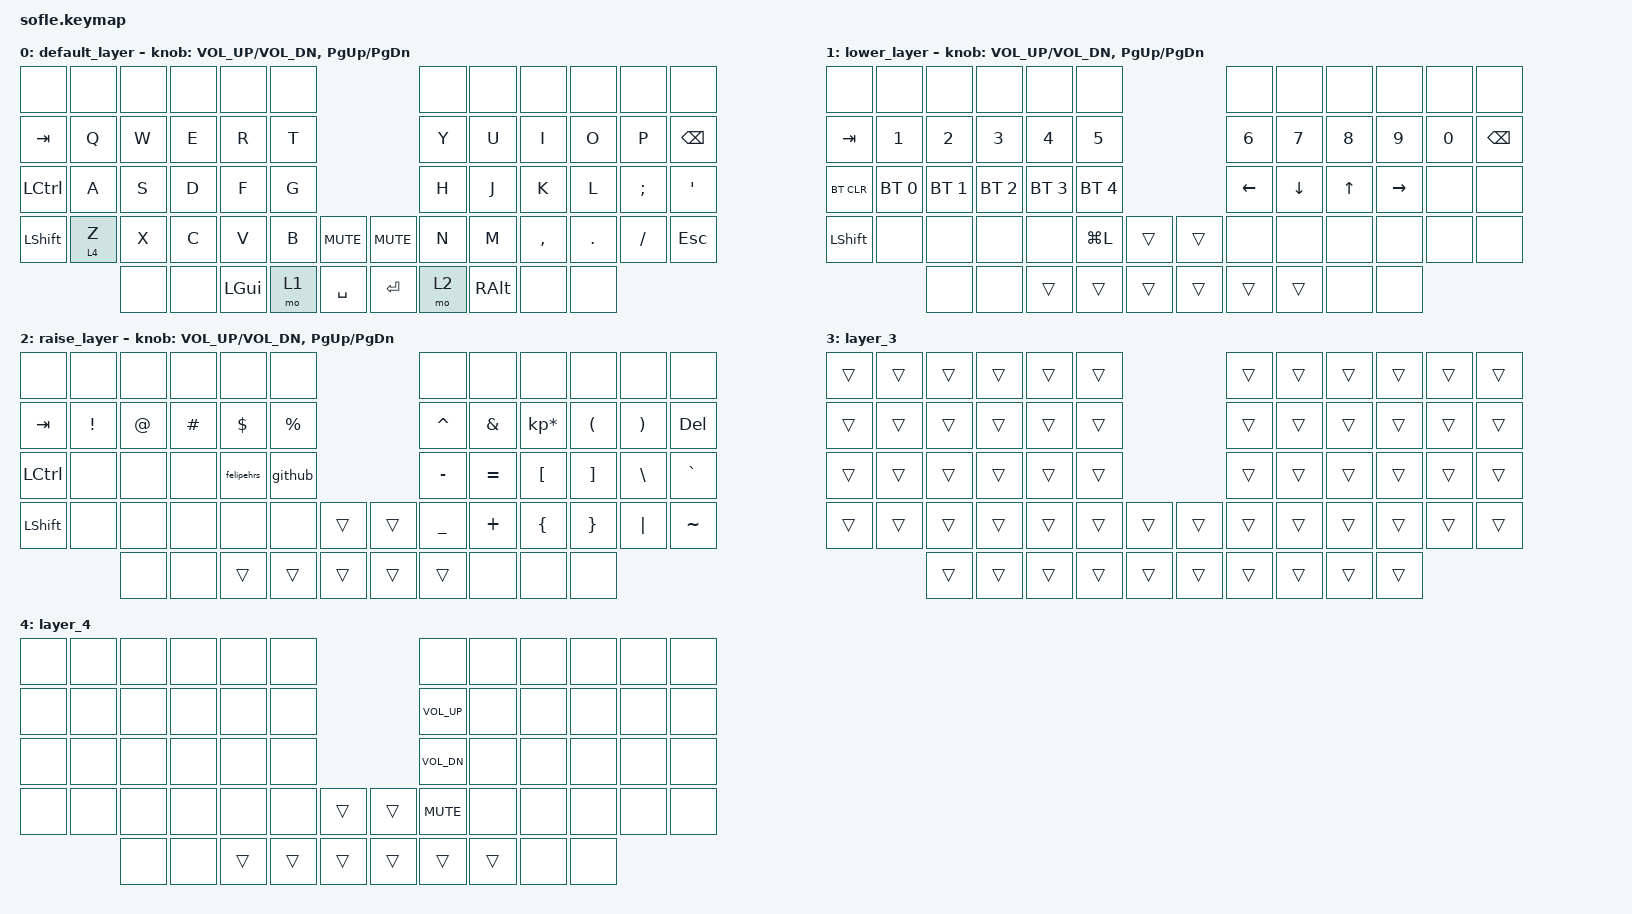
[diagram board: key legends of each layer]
/*
 * Copyright (c) 2020 The ZMK Contributors
 *
 * SPDX-License-Identifier: MIT
 */

#include <behaviors.dtsi>
#include <dt-bindings/zmk/bt.h>
#include <dt-bindings/zmk/keys.h>
#include <dt-bindings/zmk/outputs.h>

/ {
    combos {
        compatible = "zmk,combos";

        studio_unlock {
            bindings = <&studio_unlock>;
            key-positions = <15 16 17>;
        };

        out_ble {
            bindings = <&out OUT_BLE>;
            key-positions = <12 13 14>;
        };

        out_usb {
            bindings = <&out OUT_USB>;
            key-positions = <24 25 26>;
        };
    };

    macros {
        github: github {
            compatible = "zmk,behavior-macro";
            #binding-cells = <0>;
            bindings = <&kp G &kp I &kp T &kp H &kp U &kp B &kp DOT &kp C &kp O &kp M &kp SLASH>;
            label = "GITHUB";
        };

        felipehrs: felipehrs {
            compatible = "zmk,behavior-macro";
            #binding-cells = <0>;
            bindings = <&kp F &kp E &kp L &kp I &kp P &kp E &kp H &kp R &kp S>;
            label = "FELIPEHRS";
        };
    };

    keymap {
        compatible = "zmk,keymap";

        default_layer {
            // ------------------------------------------------------------------------------------------------------------
            // |  `    |  1  |  2  |  3   |  4   |  5   |                   |  6   |  7    |  8    |  9   |   0   |       |
            // |  ESC  |  Q  |  W  |  E   |  R   |  T   |                   |  Y   |  U    |  I    |  O   |   P   | BKSPC |
            // |  TAB  |  A  |  S  |  D   |  F   |  G   |                   |  H   |  J    |  K    |  L   |   ;   |   '   |
            // | SHIFT |  Z  |  X  |  C   |  V   |  B   |  MUTE  |  |       |  N   |  M    |  ,    |  .   |   /   | SHIFT |
            //               | GUI | ALT  | CTRL | LOWER|  ENTER |  | SPACE | RAISE| CTRL  | ALT   | GUI  |

            bindings = <
&none      &none    &none  &none  &none     &none                            &none  &none     &none      &none    &none     &none
&kp TAB    &kp Q    &kp W  &kp E  &kp R     &kp T                            &kp Y  &kp U     &kp I      &kp O    &kp P     &kp BSPC
&kp LCTRL  &kp A    &kp S  &kp D  &kp F     &kp G                            &kp H  &kp J     &kp K      &kp L    &kp SEMI  &kp SQT
&kp LSHFT  &lt 4 Z  &kp X  &kp C  &kp V     &kp B  &kp C_MUTE    &kp C_MUTE  &kp N  &kp M     &kp COMMA  &kp DOT  &kp FSLH  &kp ESC
                    &none  &none  &kp LGUI  &mo 1  &kp SPACE     &kp ENTER   &mo 2  &kp RALT  &none      &none
            >;

            sensor-bindings = <&inc_dec_kp C_VOL_UP C_VOL_DN &inc_dec_kp PG_UP PG_DN>;
        };

        lower_layer {
            // TODO: Some binds are waiting for shifted keycode support.
            // ------------------------------------------------------------------------------------------------------------
            // | `     |  F1 |  F2 |  F3  |  F4  |  F5  |                   |  F6  |  F7   |  F8   |  F9  |  F10  |  F11  |
            // | RAISE |   1 |   2 |   3  |   4  |   5  |                   |   6  |   7   |   8   |   9  |    0  |  F12  |
            // |       |  !  |  @  |  #   |  $   |  %   |                   |  ^   |  &    |  *    |  (   |   )   |   |   |
            // |       |  =  |  -  |  +   |  {   |  }   |        |  |       |  [   |  ]    |  ;    |  :   |   \   |       |
            //               |     |      |      |      |        |  |       |      |       |       |      |

            bindings = <
&none       &none         &none         &none         &none         &none                           &none     &none     &none   &none      &none   &none
&kp TAB     &kp N1        &kp N2        &kp N3        &kp N4        &kp N5                          &kp N6    &kp N7    &kp N8  &kp N9     &kp N0  &kp BSPC
&bt BT_CLR  &bt BT_SEL 0  &bt BT_SEL 1  &bt BT_SEL 2  &bt BT_SEL 3  &bt BT_SEL 4                    &kp LEFT  &kp DOWN  &kp UP  &kp RIGHT  &none   &none
&kp LSHIFT  &none         &none         &none         &none         &kp LG(L)     &trans    &trans  &none     &none     &none   &none      &none   &none
                          &none         &none         &trans        &trans        &trans    &trans  &trans    &trans    &none   &none
            >;

            sensor-bindings = <&inc_dec_kp C_VOL_UP C_VOL_DN &inc_dec_kp PG_UP PG_DN>;
        };

        raise_layer {
            // ------------------------------------------------------------------------------------------------------------
            // |BTCLR| BT1  | BT2  |  BT3  |  BT4  |  BT5 |                |      |      |       |      |       |       |
            // |     | INS  | PSCR | GUI   |       |      |                | PGUP |      |       |      |       |       |
            // |     | ALT  | CTRL | SHIFT |       | CAPS |                |  <-  |   v  |   ^   |  ->  |  DEL  | BKSPC |
            // |     | UNDO | CUT  | COPY  | PASTE |      |      |  |      |      |      |       |      |       |       |
            //              |      |       |       |      |      |  |      |      |      |       |      |

            bindings = <
&none       &none     &none   &none     &none       &none                        &none      &none      &none            &none     &none     &none
&kp TAB     &kp EXCL  &kp AT  &kp HASH  &kp DLLR    &kp PRCNT                    &kp CARET  &kp AMPS   &kp KP_MULTIPLY  &kp LPAR  &kp RPAR  &kp DEL
&kp LCTRL   &none     &none   &none     &felipehrs  &github                      &kp MINUS  &kp EQUAL  &kp LBKT         &kp RBKT  &kp BSLH  &kp GRAVE
&kp LSHIFT  &none     &none   &none     &none       &none      &trans    &trans  &kp UNDER  &kp PLUS   &kp LBRC         &kp RBRC  &kp PIPE  &kp TILDE
                      &none   &none     &trans      &trans     &trans    &trans  &trans     &none      &none            &none
            >;

            sensor-bindings = <&inc_dec_kp C_VOL_UP C_VOL_DN &inc_dec_kp PG_UP PG_DN>;
        };

        layer_3 {
            bindings = <
&trans  &trans  &trans  &trans  &trans  &trans                    &trans  &trans  &trans  &trans  &trans  &trans
&trans  &trans  &trans  &trans  &trans  &trans                    &trans  &trans  &trans  &trans  &trans  &trans
&trans  &trans  &trans  &trans  &trans  &trans                    &trans  &trans  &trans  &trans  &trans  &trans
&trans  &trans  &trans  &trans  &trans  &trans  &trans    &trans  &trans  &trans  &trans  &trans  &trans  &trans
                &trans  &trans  &trans  &trans  &trans    &trans  &trans  &trans  &trans  &trans
            >;
        };

        layer_4 {
            bindings = <
&none  &none  &none  &none  &none   &none                     &none         &none   &none  &none  &none  &none
&none  &none  &none  &none  &none   &none                     &kp C_VOL_UP  &none   &none  &none  &none  &none
&none  &none  &none  &none  &none   &none                     &kp C_VOL_DN  &none   &none  &none  &none  &none
&none  &none  &none  &none  &none   &none   &trans    &trans  &kp C_MUTE    &none   &none  &none  &none  &none
              &none  &none  &trans  &trans  &trans    &trans  &trans        &trans  &none  &none
            >;
        };
    };
};
